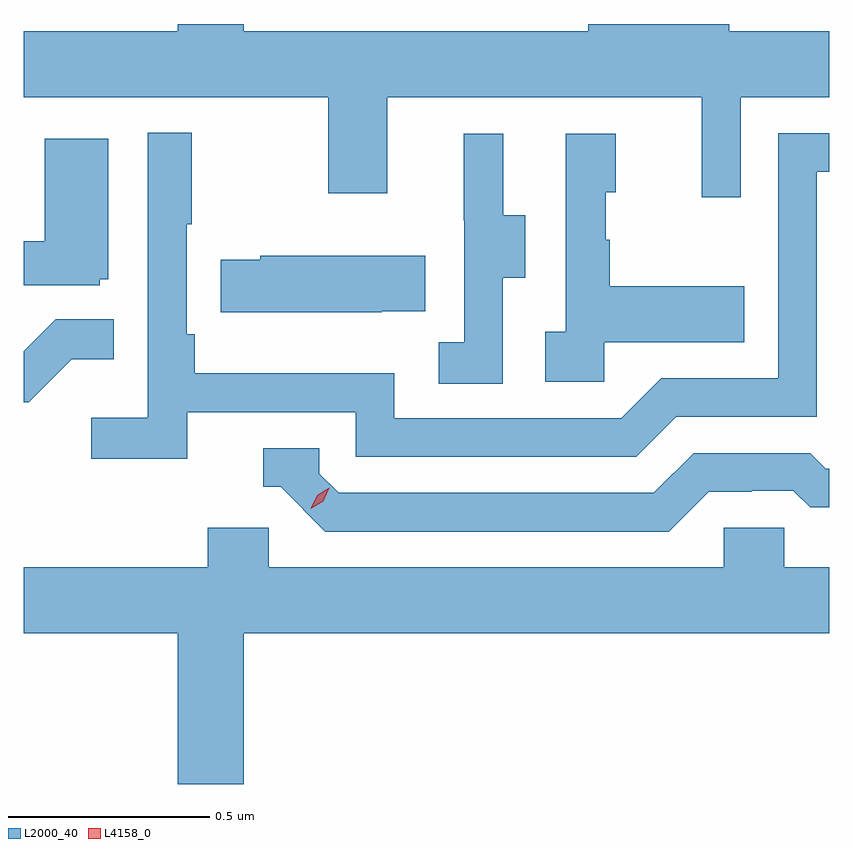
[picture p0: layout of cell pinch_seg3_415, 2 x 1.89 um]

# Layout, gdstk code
import gdstk
lib = gdstk.Library(unit=1e-6, precision=1e-09)
def P(c, l, *ps):  # polygons
    for p in ps: c.add(gdstk.Polygon(p, *l))
L2000_40 = (2000, 40)
L4158_0 = (4158, 0)

pinch_seg3_415 = lib.new_cell('pinch_seg3_415')
P(pinch_seg3_415, L2000_40, [(945.627,696.92),(945.846,696.92),(945.846,697.084),(945.598,697.084),(945.598,697.102),(945.248,697.102),(945.248,697.084),(944.392,697.084),(944.392,697.102),(944.228,697.102),(944.228,697.084),(943.846,697.084),(943.846,696.92),(944.602,696.92),(944.602,696.681),(944.749,696.681),(944.749,696.92),(945.53,696.92),(945.53,696.672),(945.627,696.672)],
  [(944.252,696.138),(944.67,696.138),(944.67,696.027),(945.367,696.027),(945.466,696.126),(945.816,696.126),(945.816,696.735),(945.846,696.735),(945.846,696.831),(945.72,696.831),(945.72,696.222),(945.429,696.222),(945.33,696.123),(944.766,696.123),(944.766,696.235),(944.27,696.235),(944.27,696.331),(944.25,696.331),(944.25,696.604),(944.263,696.604),(944.263,696.832),(944.154,696.832),(944.154,696.124),(944.013,696.124),(944.013,696.022),(944.252,696.022)],
  [(945.288,696.311),(945.635,696.311),(945.635,696.451),(945.301,696.451),(945.301,696.566),(945.291,696.566),(945.291,696.684),(945.316,696.684),(945.316,696.829),(945.192,696.829),(945.192,696.338),(945.141,696.338),(945.141,696.213),(945.288,696.213)],
  [(945.036,696.472),(945.091,696.472),(945.091,696.627),(945.037,696.627),(945.037,696.829),(944.939,696.829),(944.939,696.615),(944.94,696.615),(944.94,696.311),(944.877,696.311),(944.877,696.208),(945.036,696.208)],
  [(944.034,696.468),(944.056,696.468),(944.056,696.817),(943.898,696.817),(943.898,696.562),(943.846,696.562),(943.846,696.453),(944.034,696.453)],
  [(944.735,696.389),(944.843,696.389),(944.843,696.526),(944.433,696.526),(944.433,696.516),(944.335,696.516),(944.335,696.386),(944.735,696.386)],
  [(943.965,696.269),(944.069,696.269),(944.069,696.368),(943.925,696.368),(943.846,696.289),(943.846,696.162),(943.858,696.162)],
  [(945.547,695.94),(945.654,695.94),(945.654,695.943),(945.757,695.943),(945.799,695.901),(945.846,695.901),(945.846,695.997),(945.838,695.997),(945.799,696.036),(945.51,696.036),(945.411,695.937),(944.628,695.937),(944.58,695.985),(944.58,696.048),(944.441,696.048),(944.441,695.952),(944.484,695.952),(944.595,695.841),(945.448,695.841)],
  [(944.392,695.588),(945.846,695.588),(945.846,695.752),(945.735,695.752),(945.735,695.85),(945.585,695.85),(945.585,695.752),(944.454,695.752),(944.454,695.85),(944.303,695.85),(944.303,695.752),(943.846,695.752),(943.846,695.588),(944.228,695.588),(944.228,695.214),(944.392,695.214)])
P(pinch_seg3_415, L4158_0, [(944.558,695.898),(944.558,695.898),(944.574,695.931),(944.605,695.95),(944.605,695.95),(944.605,695.95),(944.589,695.917),(944.558,695.898)])

lib.write_gds('pinch_seg3_415.gds')
